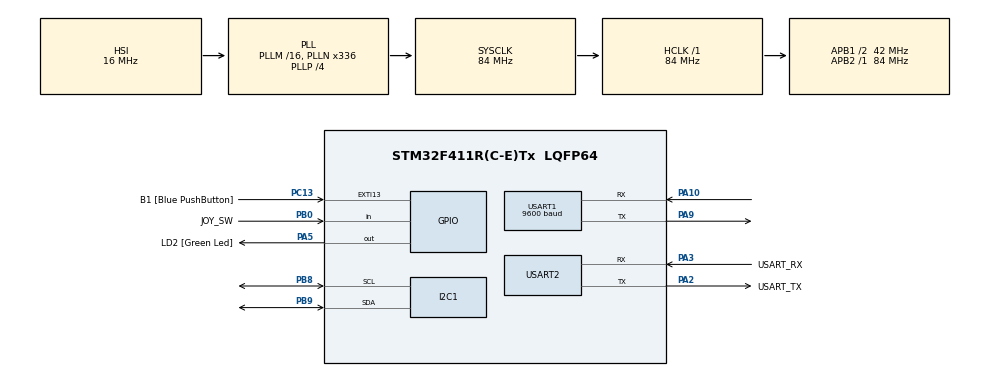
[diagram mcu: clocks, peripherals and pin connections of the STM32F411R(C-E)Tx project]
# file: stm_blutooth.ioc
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ADC1.Channel-1\#ChannelRegularConversion=ADC_CHANNEL_0
ADC1.Channel-3\#ChannelRegularConversion=ADC_CHANNEL_1
ADC1.ContinuousConvMode=DISABLE
ADC1.DMAContinuousRequests=DISABLE
ADC1.EOCSelection=ADC_EOC_SINGLE_CONV
ADC1.InjNumberOfConversion=0
ADC1.NbrOfConversion=2
ADC1.NbrOfConversionFlag=1
ADC1.Rank-1\#ChannelRegularConversion=1
ADC1.Rank-3\#ChannelRegularConversion=2
ADC1.Resolution=ADC_RESOLUTION_12B
ADC1.SamplingTime-1\#ChannelRegularConversion=ADC_SAMPLETIME_84CYCLES
ADC1.SamplingTime-3\#ChannelRegularConversion=ADC_SAMPLETIME_84CYCLES
ADC1.ScanConvMode=ENABLE
ADC1.master=1
Mcu.Family=STM32F4
Mcu.Name=STM32F411R(C-E)Tx
Mcu.Package=LQFP64
NVIC.PriorityGroup=NVIC_PRIORITYGROUP_0
NVIC.USART1_IRQn=true\:0\:0\:false\:false\:true\:true\:true\:true
PA0-WKUP.GPIO_Label=JOY_X
PA0-WKUP.Signal=ADCx_IN0
PA1.GPIO_Label=JOY_Y
PA1.Signal=ADCx_IN1
PA10.Mode=Asynchronous
PA10.Signal=USART1_RX
PA13.GPIO_Label=TMS
PA13.Mode=Serial_Wire
PA13.Signal=SYS_JTMS-SWDIO
PA14.GPIO_Label=TCK
PA14.Mode=Serial_Wire
PA14.Signal=SYS_JTCK-SWCLK
PA2.GPIO_Label=USART_TX
PA2.Mode=Asynchronous
PA2.Signal=USART2_TX
PA3.GPIO_Label=USART_RX
PA3.Mode=Asynchronous
PA3.Signal=USART2_RX
PA5.GPIO_Label=LD2 [Green Led]
PA5.Signal=GPIO_Output
PA9.Mode=Asynchronous
PA9.Signal=USART1_TX
PB0.GPIO_Label=JOY_SW
PB0.GPIO_PuPd=GPIO_PULLUP
PB0.Signal=GPIO_Input
PB3.GPIO_Label=SWO
PB3.Signal=SYS_JTDO-SWO
PB8.Mode=I2C
PB8.Signal=I2C1_SCL
PB9.Mode=I2C
PB9.Signal=I2C1_SDA
PC13-ANTI_TAMP.GPIO_Label=B1 [Blue PushButton]
PC13-ANTI_TAMP.GPIO_ModeDefaultEXTI=GPIO_MODE_IT_FALLING
PC13-ANTI_TAMP.Signal=GPXTI13
PC14-OSC32_IN.Mode=LSE-External-Oscillator
PC14-OSC32_IN.Signal=RCC_OSC32_IN
PC15-OSC32_OUT.Mode=LSE-External-Oscillator
PC15-OSC32_OUT.Signal=RCC_OSC32_OUT
PH0\ -\ OSC_IN.Mode=HSE-External-Clock-Source
PH0\ -\ OSC_IN.Signal=RCC_OSC_IN
PH1\ -\ OSC_OUT.Mode=HSE-External-Clock-Source
PH1\ -\ OSC_OUT.Signal=RCC_OSC_OUT
ProjectManager.HeapSize=0x200
ProjectManager.StackSize=0x400
ProjectManager.TargetToolchain=CMake
RCC.48MHZClocksFreq_Value=84000000
RCC.AHBFreq_Value=84000000
RCC.APB1CLKDivider=RCC_HCLK_DIV2
RCC.APB1Freq_Value=42000000
RCC.APB1TimFreq_Value=84000000
RCC.APB2Freq_Value=84000000
RCC.APB2TimFreq_Value=84000000
RCC.CortexFreq_Value=84000000
RCC.FLatency-AdvancedSettings=FLASH_LATENCY_2
RCC.HCLKFreq_Value=84000000
RCC.HSE_VALUE=8000000
RCC.HSI_VALUE=16000000
RCC.PLLN=336
RCC.PLLP=RCC_PLLP_DIV4
RCC.SYSCLKFreq_VALUE=84000000
RCC.SYSCLKSource=RCC_SYSCLKSOURCE_PLLCLK
RCC.VCOOutputFreq_Value=336000000
USART1.BaudRate=9600
USART1.VirtualMode=VM_ASYNC
USART2.VirtualMode=VM_ASYNC
board=NUCLEO-F411RE

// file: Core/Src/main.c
/* USER CODE BEGIN Header */
/**
  ******************************************************************************
  * @file           : main.c
  * @brief          : Direct UART Protocol (No DB, Buffer Direct Parse)
  ******************************************************************************
  * @attention
  *
  * Copyright (c) 2026 STMicroelectronics.
  * All rights reserved.
  ******************************************************************************
  */
/* USER CODE END Header */
#include "main.h"

/* USER CODE BEGIN Includes */
#include <string.h>
#include <stdio.h>
/* USER CODE END Includes */

/* USER CODE BEGIN PTD */
#define LCD_ADDR (0x27 << 1)
/* USER CODE END PTD */

ADC_HandleTypeDef hadc1;

I2C_HandleTypeDef hi2c1;

UART_HandleTypeDef huart1;
UART_HandleTypeDef huart2;

/* USER CODE BEGIN PV */
uint8_t rx_data = 0;
uint8_t rx_buffer[128];
uint8_t rx_index = 0;
char status_line[2][64];
volatile uint8_t status_pending[2] = {0, 0};
char door_state[2][8] = {"?", "?"};
char lock_state[2][10] = {"?", "?"};
uint8_t selected_box = 0;
uint8_t selected_action = 0; // 0: STATUS, 1: UNLOCK, 2: LOCK
/* USER CODE END PV */

void SystemClock_Config(void);
static void MX_ADC1_Init(void);
static void MX_GPIO_Init(void);
static void MX_USART1_UART_Init(void);
static void MX_USART2_UART_Init(void);
static void MX_I2C1_Init(void);
/* USER CODE BEGIN PFP */
void lcd_send_cmd(char cmd);
void lcd_send_data(char data);
void lcd_clear(void);
void lcd_put_cur(int row, int col);
void lcd_init(void);
void lcd_send_string(char *str);

void Process_Command(char *cmd_str);
void Display_Locker_Status(uint8_t box);
void Joystick_Update(void);
/* USER CODE END PFP */

int main(void)
{

  /* MCU Configuration--------------------------------------------------------*/

  /* Reset of all peripherals, Initializes the Flash interface and the Systick. */
  HAL_Init();

  /* Configure the system clock */
  SystemClock_Config();

  /* Initialize all configured peripherals */
  MX_GPIO_Init();
  MX_ADC1_Init();
  MX_USART1_UART_Init();
  MX_USART2_UART_Init();
  MX_I2C1_Init();
  /* USER CODE BEGIN 2 */
  HAL_Delay(100); // 전원 안정화 대기
  lcd_init();
  lcd_clear();
  Display_Locker_Status(selected_box);

  // 블루투스(USART1) 인터럽트 1바이트 수신 대기
  HAL_UART_Receive_IT(&huart1, &rx_data, 1);

  // 부팅 알림 전송
  char *boot_msg = "[ADMIN_READY]\n";
  HAL_UART_Transmit(&huart1, (uint8_t*)boot_msg, strlen(boot_msg), 100);
  /* USER CODE END 2 */

  /* Infinite loop */
  while (1)
  {

    /* USER CODE BEGIN 3 */
    for (uint8_t box = 0; box < 2; box++)
    {
        char received[64];
        uint8_t ready = 0;

        __disable_irq();
        if (status_pending[box])
        {
            strcpy(received, status_line[box]);
            status_pending[box] = 0;
            ready = 1;
        }
        __enable_irq();

        if (ready)
        {
            unsigned number;
            char door[8];
            char lock[10];
            if (sscanf(received, "STATUS@%u@%7[^@]@%9s",
                       &number, door, lock) == 3 && number == (unsigned)box + 1 &&
                (strcmp(door, "OPEN") == 0 || strcmp(door, "CLOSED") == 0) &&
                (strcmp(lock, "LOCKED") == 0 || strcmp(lock, "UNLOCKED") == 0))
            {
                strcpy(door_state[box], door);
                strcpy(lock_state[box], lock);
                Display_Locker_Status(box);
            }
        }
    }
    Joystick_Update();
    HAL_Delay(40);
  }
  /* USER CODE END 3 */
}

void SystemClock_Config(void)
{
  RCC_OscInitTypeDef RCC_OscInitStruct = {0};
  RCC_ClkInitTypeDef RCC_ClkInitStruct = {0};

  __HAL_RCC_PWR_CLK_ENABLE();
  __HAL_PWR_VOLTAGESCALING_CONFIG(PWR_REGULATOR_VOLTAGE_SCALE1);

  RCC_OscInitStruct.OscillatorType = RCC_OSCILLATORTYPE_HSI;
  RCC_OscInitStruct.HSIState = RCC_HSI_ON;
  RCC_OscInitStruct.HSICalibrationValue = RCC_HSICALIBRATION_DEFAULT;
  RCC_OscInitStruct.PLL.PLLState = RCC_PLL_ON;
  RCC_OscInitStruct.PLL.PLLSource = RCC_PLLSOURCE_HSI;
  RCC_OscInitStruct.PLL.PLLM = 16;
  RCC_OscInitStruct.PLL.PLLN = 336;
  RCC_OscInitStruct.PLL.PLLP = RCC_PLLP_DIV4;
  RCC_OscInitStruct.PLL.PLLQ = 4;
  if (HAL_RCC_OscConfig(&RCC_OscInitStruct) != HAL_OK)
  {
    Error_Handler();
  }

  RCC_ClkInitStruct.ClockType = RCC_CLOCKTYPE_HCLK|RCC_CLOCKTYPE_SYSCLK
                              |RCC_CLOCKTYPE_PCLK1|RCC_CLOCKTYPE_PCLK2;
  RCC_ClkInitStruct.SYSCLKSource = RCC_SYSCLKSOURCE_PLLCLK;
  RCC_ClkInitStruct.AHBCLKDivider = RCC_SYSCLK_DIV1;
  RCC_ClkInitStruct.APB1CLKDivider = RCC_HCLK_DIV2;
  RCC_ClkInitStruct.APB2CLKDivider = RCC_HCLK_DIV1;

  if (HAL_RCC_ClockConfig(&RCC_ClkInitStruct, FLASH_LATENCY_2) != HAL_OK)
  {
    Error_Handler();
  }
}

/** ADC1 scans joystick X (PA0) and Y (PA1) once per update. */
static void MX_ADC1_Init(void)
{
  ADC_ChannelConfTypeDef channel = {0};

  __HAL_RCC_ADC1_CLK_ENABLE();
  hadc1.Instance = ADC1;
  hadc1.Init.ClockPrescaler = ADC_CLOCK_SYNC_PCLK_DIV4;
  hadc1.Init.Resolution = ADC_RESOLUTION_12B;
  hadc1.Init.ScanConvMode = ENABLE;
  hadc1.Init.ContinuousConvMode = DISABLE;
  hadc1.Init.DiscontinuousConvMode = DISABLE;
  hadc1.Init.ExternalTrigConvEdge = ADC_EXTERNALTRIGCONVEDGE_NONE;
  hadc1.Init.ExternalTrigConv = ADC_SOFTWARE_START;
  hadc1.Init.DataAlign = ADC_DATAALIGN_RIGHT;
  hadc1.Init.NbrOfConversion = 2;
  hadc1.Init.DMAContinuousRequests = DISABLE;
  hadc1.Init.EOCSelection = ADC_EOC_SINGLE_CONV;
  if (HAL_ADC_Init(&hadc1) != HAL_OK) Error_Handler();

  channel.Channel = ADC_CHANNEL_0;
  channel.Rank = 1;
  channel.SamplingTime = ADC_SAMPLETIME_84CYCLES;
  if (HAL_ADC_ConfigChannel(&hadc1, &channel) != HAL_OK) Error_Handler();
  channel.Channel = ADC_CHANNEL_1;
  channel.Rank = 2;
  if (HAL_ADC_ConfigChannel(&hadc1, &channel) != HAL_OK) Error_Handler();
}

static void MX_I2C1_Init(void)
{
  hi2c1.Instance = I2C1;
  hi2c1.Init.ClockSpeed = 100000;
  hi2c1.Init.DutyCycle = I2C_DUTYCYCLE_2;
  hi2c1.Init.OwnAddress1 = 0;
  hi2c1.Init.AddressingMode = I2C_ADDRESSINGMODE_7BIT;
  hi2c1.Init.DualAddressMode = I2C_DUALADDRESS_DISABLE;
  hi2c1.Init.OwnAddress2 = 0;
  hi2c1.Init.GeneralCallMode = I2C_GENERALCALL_DISABLE;
  hi2c1.Init.NoStretchMode = I2C_NOSTRETCH_DISABLE;
  if (HAL_I2C_Init(&hi2c1) != HAL_OK)
  {
    Error_Handler();
  }
}

static void MX_USART1_UART_Init(void)
{
  huart1.Instance = USART1;
  huart1.Init.BaudRate = 9600;
  huart1.Init.WordLength = UART_WORDLENGTH_8B;
  huart1.Init.StopBits = UART_STOPBITS_1;
  huart1.Init.Parity = UART_PARITY_NONE;
  huart1.Init.Mode = UART_MODE_TX_RX;
  huart1.Init.HwFlowCtl = UART_HWCONTROL_NONE;
  huart1.Init.OverSampling = UART_OVERSAMPLING_16;
  if (HAL_UART_Init(&huart1) != HAL_OK)
  {
    Error_Handler();
  }
}

static void MX_USART2_UART_Init(void)
{
  huart2.Instance = USART2;
  huart2.Init.BaudRate = 115200;
  huart2.Init.WordLength = UART_WORDLENGTH_8B;
  huart2.Init.StopBits = UART_STOPBITS_1;
  huart2.Init.Parity = UART_PARITY_NONE;
  huart2.Init.Mode = UART_MODE_TX_RX;
  huart2.Init.HwFlowCtl = UART_HWCONTROL_NONE;
  huart2.Init.OverSampling = UART_OVERSAMPLING_16;
  if (HAL_UART_Init(&huart2) != HAL_OK)
  {
    Error_Handler();
  }
}

static void MX_GPIO_Init(void)
{
  GPIO_InitTypeDef GPIO_InitStruct = {0};

  __HAL_RCC_GPIOC_CLK_ENABLE();
  __HAL_RCC_GPIOH_CLK_ENABLE();
  __HAL_RCC_GPIOA_CLK_ENABLE();
  __HAL_RCC_GPIOB_CLK_ENABLE();

  HAL_GPIO_WritePin(LD2_GPIO_Port, LD2_Pin, GPIO_PIN_RESET);

  GPIO_InitStruct.Pin = B1_Pin;
  GPIO_InitStruct.Mode = GPIO_MODE_IT_FALLING;
  GPIO_InitStruct.Pull = GPIO_NOPULL;
  HAL_GPIO_Init(B1_GPIO_Port, &GPIO_InitStruct);

  GPIO_InitStruct.Pin = LD2_Pin;
  GPIO_InitStruct.Mode = GPIO_MODE_OUTPUT_PP;
  GPIO_InitStruct.Pull = GPIO_NOPULL;
  GPIO_InitStruct.Speed = GPIO_SPEED_FREQ_LOW;
  HAL_GPIO_Init(LD2_GPIO_Port, &GPIO_InitStruct);

  GPIO_InitStruct.Pin = GPIO_PIN_0|GPIO_PIN_1;
  GPIO_InitStruct.Mode = GPIO_MODE_ANALOG;
  GPIO_InitStruct.Pull = GPIO_NOPULL;
  HAL_GPIO_Init(GPIOA, &GPIO_InitStruct);

  GPIO_InitStruct.Pin = GPIO_PIN_0;
  GPIO_InitStruct.Mode = GPIO_MODE_INPUT;
  GPIO_InitStruct.Pull = GPIO_PULLUP;
  HAL_GPIO_Init(GPIOB, &GPIO_InitStruct);
}

/* USER CODE BEGIN 4 */

void HAL_UART_ErrorCallback(UART_HandleTypeDef *huart)
{
    if (huart->Instance == USART1)
    {
        __HAL_UART_CLEAR_OREFLAG(huart);
        huart->ErrorCode = HAL_UART_ERROR_NONE;
        HAL_UART_Receive_IT(&huart1, &rx_data, 1);
    }
}

// LCD 드라이버
void lcd_send_cmd(char cmd)
{
    char data_u, data_l;
    uint8_t data_t[4];
    data_u = (cmd & 0xf0);
    data_l = ((cmd << 4) & 0xf0);
    data_t[0] = data_u | 0x0C;
    data_t[1] = data_u | 0x08;
    data_t[2] = data_l | 0x0C;
    data_t[3] = data_l | 0x08;
    HAL_I2C_Master_Transmit(&hi2c1, LCD_ADDR, (uint8_t *)data_t, 4, 100);
}

void lcd_send_data(char data)
{
    char data_u, data_l;
    uint8_t data_t[4];
    data_u = (data & 0xf0);
    data_l = ((data << 4) & 0xf0);
    data_t[0] = data_u | 0x0D;
    data_t[1] = data_u | 0x09;
    data_t[2] = data_l | 0x0D;
    data_t[3] = data_l | 0x09;
    HAL_I2C_Master_Transmit(&hi2c1, LCD_ADDR, (uint8_t *)data_t, 4, 100);
}

void lcd_clear(void)
{
    lcd_send_cmd(0x01);
    HAL_Delay(2);
}

void lcd_put_cur(int row, int col)
{
    switch (row)
    {
        case 0: col |= 0x80; break;
        case 1: col |= 0xC0; break;
    }
    lcd_send_cmd(col);
}

void lcd_init(void)
{
    // 1. LCD 컨트롤러 전원 안정화 대기
    HAL_Delay(100);

    // 2. HD44780 4-bit 모드 진입 공식 시퀀스
    lcd_send_cmd(0x30);
    HAL_Delay(10);
    lcd_send_cmd(0x30);
    HAL_Delay(2);
    lcd_send_cmd(0x30);
    HAL_Delay(2);

    // 3. 4-bit 모드 전환
    lcd_send_cmd(0x20);
    HAL_Delay(10);

    // 4. 기능 설정 (2줄, 5x8 폰트)
    lcd_send_cmd(0x28);
    HAL_Delay(5);

    // 5. 디스플레이 OFF
    lcd_send_cmd(0x08);
    HAL_Delay(5);

    // 6. 화면 클리어
    lcd_send_cmd(0x01);
    HAL_Delay(5);

    // 7. 엔트리 모드 (커서 오른쪽 이동)
    lcd_send_cmd(0x06);
    HAL_Delay(5);

    // 8. 디스플레이 ON, 커서 OFF
    lcd_send_cmd(0x0C);
    HAL_Delay(5);
}

void lcd_send_string(char *str)
{
    while (*str) lcd_send_data(*str++);
}

// 선택한 보관함 상태와 실행할 명령을 LCD 두 줄에 표시한다.
void Display_Locker_Status(uint8_t box)
{
    if (box != selected_box) return;
    char row[17];
    char action_row[17];
    const char *door = strcmp(door_state[box], "CLOSED") == 0 ? "CLOSE" : door_state[box];
    const char *lock = strcmp(lock_state[box], "UNLOCKED") == 0 ? "UNLOCK" :
                       strcmp(lock_state[box], "LOCKED") == 0 ? "LOCK" : lock_state[box];
    const char *action = selected_action == 0 ? ">STATUS CLICK" :
                         selected_action == 1 ? ">UNLOCK HOLD1.2S" : ">LOCK HOLD1.2S";
    snprintf(row, sizeof(row), "%c:%-5.5s %-8.8s", (char)('1' + box), door, lock);
    snprintf(action_row, sizeof(action_row), "%-16.16s", action);
    lcd_put_cur(0, 0);
    lcd_send_string(row);
    lcd_put_cur(1, 0);
    lcd_send_string(action_row);
}

static uint8_t Joystick_Read(uint16_t *x, uint16_t *y)
{
    if (HAL_ADC_Start(&hadc1) != HAL_OK) return 0;
    if (HAL_ADC_PollForConversion(&hadc1, 10) != HAL_OK) {
        HAL_ADC_Stop(&hadc1);
        return 0;
    }
    *x = (uint16_t)HAL_ADC_GetValue(&hadc1);
    if (HAL_ADC_PollForConversion(&hadc1, 10) != HAL_OK) {
        HAL_ADC_Stop(&hadc1);
        return 0;
    }
    *y = (uint16_t)HAL_ADC_GetValue(&hadc1);
    HAL_ADC_Stop(&hadc1);
    return 1;
}

static void Joystick_SendCommand(void)
{
    char command[24];
    if (selected_action == 0)
        snprintf(command, sizeof(command), "STATUS?\n");
    else
        snprintf(command, sizeof(command), "%s@%u\n",
                 selected_action == 1 ? "UNLOCK" : "LOCK",
                 (unsigned)selected_box + 1);
    HAL_UART_Transmit(&huart1, (uint8_t *)command,
                      (uint16_t)strlen(command), 100);
}

void Joystick_Update(void)
{
    static uint8_t y_centered = 1;
    static uint8_t was_pressed = 0;
    static uint32_t pressed_at = 0;
    uint16_t x, y;
    uint32_t now = HAL_GetTick();

    if (Joystick_Read(&x, &y)) {
        uint8_t new_box = selected_box;
        if (x < 900) new_box = 0;
        else if (x > 3200) new_box = 1;
        if (new_box != selected_box) {
            selected_box = new_box;
            Display_Locker_Status(selected_box);
        }

        if (y > 1600 && y < 2500) y_centered = 1;
        else if (y_centered && y < 900) {
            selected_action = (uint8_t)((selected_action + 1) % 3);
            y_centered = 0;
            Display_Locker_Status(selected_box);
        }
        else if (y_centered && y > 3200) {
            selected_action = (uint8_t)((selected_action + 2) % 3);
            y_centered = 0;
            Display_Locker_Status(selected_box);
        }
    }

    uint8_t pressed = HAL_GPIO_ReadPin(GPIOB, GPIO_PIN_0) == GPIO_PIN_RESET;
    if (pressed && !was_pressed) {
        was_pressed = 1;
        pressed_at = now;
    }
    else if (!pressed && was_pressed) {
        was_pressed = 0;
        uint32_t held = now - pressed_at;
        if (held >= 80 && (selected_action == 0 || held >= 1200))
            Joystick_SendCommand();
    }
}

// 서버가 보낸 실제 보관함 상태만 받아 둔다. LCD 갱신은 메인 루프에서 한다.
void Process_Command(char *cmd_str)
{
    if (strncmp(cmd_str, "STATUS@", 7) == 0 &&
        (cmd_str[7] == '1' || cmd_str[7] == '2') && cmd_str[8] == '@')
    {
        uint8_t box = (uint8_t)(cmd_str[7] - '1');
        strncpy(status_line[box], cmd_str, sizeof(status_line[box]) - 1);
        status_line[box][sizeof(status_line[box]) - 1] = '\0';
        status_pending[box] = 1;
    }
}

// UART 인터럽트 수신 콜백
void HAL_UART_RxCpltCallback(UART_HandleTypeDef *huart)
{
    if (huart->Instance == USART1)
    {
        // 개행 단위 문자열 파싱
        if (rx_data == '\n' || rx_data == '\r')
        {
            if (rx_index > 0)
            {
                rx_buffer[rx_index] = '\0';
                Process_Command((char*)rx_buffer);

                rx_index = 0;
            }
        }
        else
        {
            if (rx_index < 127)
            {
                rx_buffer[rx_index++] = rx_data;
            }
        }

        // 수신 대기 유지
        HAL_UART_Receive_IT(&huart1, &rx_data, 1);
    }
}
/* USER CODE END 4 */

void Error_Handler(void)
{
  __disable_irq();
  while (1)
  {
  }
}
